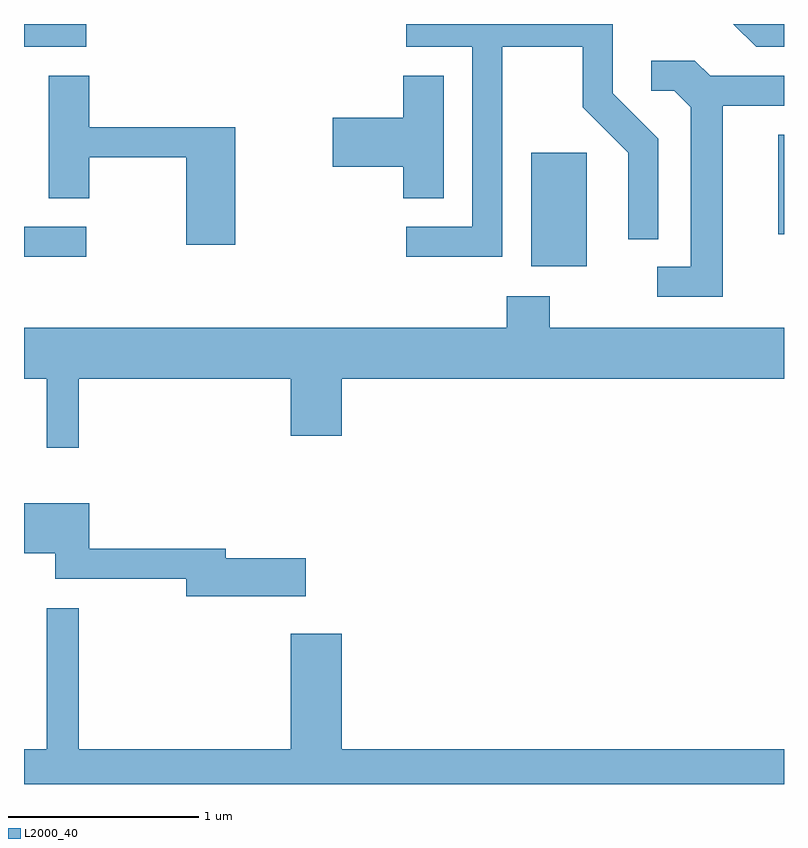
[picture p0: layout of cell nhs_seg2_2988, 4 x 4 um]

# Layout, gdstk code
import gdstk
lib = gdstk.Library(unit=1e-6, precision=1e-09)
def R(c, l, rs):  # rectangles x0, y0, x1, y1
    for r in rs: c.add(gdstk.rectangle(r[:2], r[2:], *l))
def P(c, l, *ps):  # polygons
    for p in ps: c.add(gdstk.Polygon(p, *l))
L2000_40 = (2000, 40)

nhs_seg2_2988 = lib.new_cell('nhs_seg2_2988')
R(nhs_seg2_2988, L2000_40, [(276.281,984.526,276.574,985.124), (273.611,984.576,273.938,984.734), (277.581,984.696,277.611,985.219), (273.611,985.681,273.938,985.802)])
P(nhs_seg2_2988, L2000_40, [(276.129,985.681),(276.551,985.681),(276.551,985.364),(276.791,985.124),(276.791,984.668),(276.949,984.668),(276.949,985.197),(276.709,985.437),(276.709,985.802),(275.623,985.802),(275.623,985.681),(275.971,985.681),(275.971,984.734),(275.623,984.734),(275.623,984.576),(276.129,984.576)],
  [(277.611,985.802),(277.343,985.802),(277.464,985.681),(277.611,985.681)],
  [(277.289,985.371),(277.611,985.371),(277.611,985.529),(277.222,985.529),(277.142,985.609),(276.913,985.609),(276.913,985.451),(277.034,985.451),(277.121,985.364),(277.121,984.524),(276.943,984.524),(276.943,984.366),(277.289,984.366)],
  [(275.819,985.529),(275.606,985.529),(275.606,985.309),(275.236,985.309),(275.236,985.051),(275.606,985.051),(275.606,984.886),(275.819,984.886)],
  [(274.724,985.259),(273.954,985.259),(273.954,985.529),(273.741,985.529),(273.741,984.886),(273.954,984.886),(273.954,985.101),(274.466,985.101),(274.466,984.641),(274.724,984.641)],
  [(273.899,983.936),(275.016,983.936),(275.016,983.636),(275.284,983.636),(275.284,983.936),(277.611,983.936),(277.611,984.204),(276.379,984.204),(276.379,984.369),(276.151,984.369),(276.151,984.204),(273.611,984.204),(273.611,983.936),(273.731,983.936),(273.731,983.573),(273.899,983.573)],
  [(275.094,982.989),(274.674,982.989),(274.674,983.039),(273.954,983.039),(273.954,983.279),(273.611,983.279),(273.611,983.016),(273.776,983.016),(273.776,982.881),(274.466,982.881),(274.466,982.791),(275.094,982.791)],
  [(277.611,981.984),(275.284,981.984),(275.284,982.594),(275.016,982.594),(275.016,981.984),(273.899,981.984),(273.899,982.728),(273.731,982.728),(273.731,981.984),(273.611,981.984),(273.611,981.802),(277.611,981.802)])

lib.write_gds('nhs_seg2_2988.gds')
